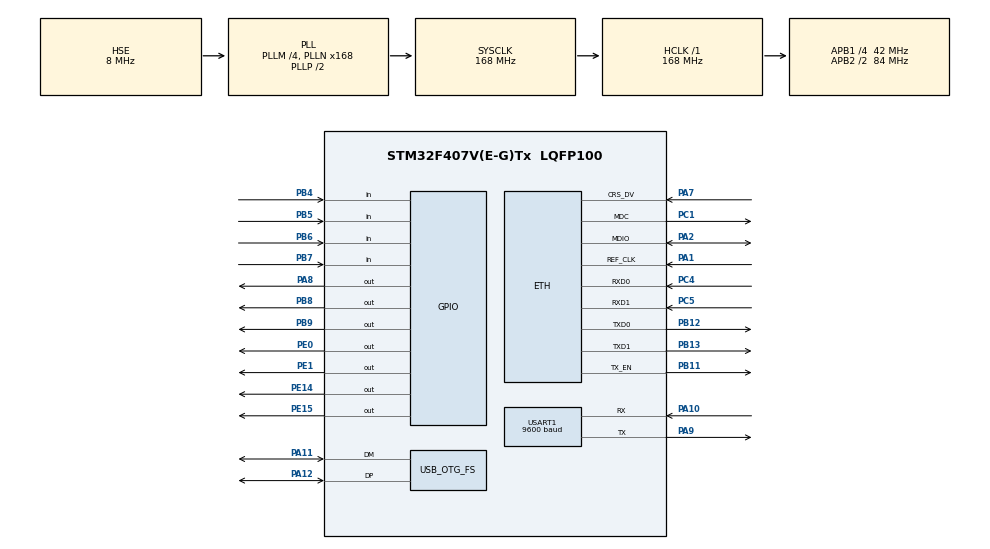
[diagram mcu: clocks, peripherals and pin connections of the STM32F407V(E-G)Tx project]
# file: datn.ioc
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Dma.Request0=USART1_RX
Dma.Request1=USART1_TX
Dma.USART1_RX.0.Direction=DMA_PERIPH_TO_MEMORY
Dma.USART1_RX.0.FIFOMode=DMA_FIFOMODE_DISABLE
Dma.USART1_RX.0.Instance=DMA2_Stream2
Dma.USART1_RX.0.MemDataAlignment=DMA_MDATAALIGN_BYTE
Dma.USART1_RX.0.MemInc=DMA_MINC_ENABLE
Dma.USART1_RX.0.Mode=DMA_CIRCULAR
Dma.USART1_RX.0.PeriphDataAlignment=DMA_PDATAALIGN_BYTE
Dma.USART1_RX.0.PeriphInc=DMA_PINC_DISABLE
Dma.USART1_RX.0.Priority=DMA_PRIORITY_HIGH
Dma.USART1_TX.1.Direction=DMA_MEMORY_TO_PERIPH
Dma.USART1_TX.1.FIFOMode=DMA_FIFOMODE_DISABLE
Dma.USART1_TX.1.Instance=DMA2_Stream7
Dma.USART1_TX.1.MemDataAlignment=DMA_MDATAALIGN_BYTE
Dma.USART1_TX.1.MemInc=DMA_MINC_ENABLE
Dma.USART1_TX.1.Mode=DMA_NORMAL
Dma.USART1_TX.1.PeriphDataAlignment=DMA_PDATAALIGN_BYTE
Dma.USART1_TX.1.PeriphInc=DMA_PINC_DISABLE
Dma.USART1_TX.1.Priority=DMA_PRIORITY_MEDIUM
ETH.MediaInterface=HAL_ETH_RMII_MODE
FREERTOS.Tasks01=Task_Ethernet,24,1024,StartTask01,Default,NULL,Dynamic,NULL,NULL;Task_Modbus,8,512,StartTask02,Default,NULL,Dynamic,NULL,NULL;Task_IO,8,256,StartTask03,Default,NULL,Dynamic,NULL,NULL;Task_USB,8,512,StartTask04,Default,NULL,Dynamic,NULL,NULL
FREERTOS.configCHECK_FOR_STACK_OVERFLOW=2
FREERTOS.configMINIMAL_STACK_SIZE=256
FREERTOS.configTOTAL_HEAP_SIZE=40960
FREERTOS.configUSE_MALLOC_FAILED_HOOK=1
FREERTOS.configUSE_NEWLIB_REENTRANT=1
LWIP.BSP.number=1
LWIP.GATEWAY_ADDRESS=192.168.001.001
LWIP.IP_ADDRESS=192.168.001.100
LWIP.LWIP_DHCP=1
LWIP.LWIP_HTTPD=1
LWIP.LWIP_HTTPD_CGI=1
LWIP.LWIP_HTTPD_DYNAMIC_HEADERS=1
LWIP.LWIP_HTTPD_KILL_OLD_ON_CONNECTIONS_EXCEEDED=1
LWIP.LWIP_HTTPD_SSI=1
LWIP.LWIP_HTTPD_SSI_INCLUDE_TAG=0
LWIP.LWIP_HTTPD_SUPPORT_11_KEEPALIVE=1
LWIP.LWIP_HTTPD_SUPPORT_POST=1
LWIP.LWIP_NETIF_STATUS_CALLBACK=1
LWIP.MEMP_NUM_RAW_PCB=5
LWIP.MEMP_NUM_TCP_SEG=21
LWIP.MEM_SIZE=10240
LWIP.NETMASK_ADDRESS=255.255.255.000
LWIP.TCP_SND_BUF=2684
LWIP.TCP_WND=5840
LWIP.Version=v2.1.2_Cube
LWIP0.BSP.STBoard=false
LWIP0.BSP.api=BSP_COMPONENT_DRIVER
LWIP0.BSP.component=LAN8742
LWIP0.BSP.instance=LAN8742
LWIP0.BSP.name=Driver_PHY
LWIP0.BSP.semaphore=S_LAN8742
LWIP0.BSP.solution=LAN8742
Mcu.Family=STM32F4
Mcu.Name=STM32F407V(E-G)Tx
Mcu.Package=LQFP100
NVIC.DMA2_Stream2_IRQn=true\:5\:0\:false\:false\:true\:true\:false\:true\:true
NVIC.DMA2_Stream7_IRQn=true\:5\:0\:false\:false\:true\:true\:false\:true\:true
NVIC.ETH_IRQn=true\:5\:0\:false\:false\:true\:true\:false\:true\:true
NVIC.OTG_FS_IRQn=true\:5\:0\:false\:false\:true\:true\:false\:true\:true
NVIC.PriorityGroup=NVIC_PRIORITYGROUP_4
NVIC.TIM6_DAC_IRQn=true\:15\:0\:false\:false\:true\:false\:false\:true\:true
NVIC.TimeBase=TIM6_DAC_IRQn
NVIC.TimeBaseIP=TIM6
NVIC.USART1_IRQn=true\:5\:0\:false\:false\:true\:true\:true\:true\:true
PA1.Mode=RMII
PA1.Signal=ETH_REF_CLK
PA10.Mode=Asynchronous
PA10.Signal=USART1_RX
PA11.Mode=Device_Only
PA11.Signal=USB_OTG_FS_DM
PA12.Mode=Device_Only
PA12.Signal=USB_OTG_FS_DP
PA13.Mode=Serial_Wire
PA13.Signal=SYS_JTMS-SWDIO
PA14.Mode=Serial_Wire
PA14.Signal=SYS_JTCK-SWCLK
PA2.Mode=RMII
PA2.Signal=ETH_MDIO
PA7.Mode=RMII
PA7.Signal=ETH_CRS_DV
PA8.Signal=GPIO_Output
PA9.Mode=Asynchronous
PA9.Signal=USART1_TX
PB11.Mode=RMII
PB11.Signal=ETH_TX_EN
PB12.Mode=RMII
PB12.Signal=ETH_TXD0
PB13.Mode=RMII
PB13.Signal=ETH_TXD1
PB4.GPIO_PuPd=GPIO_PULLUP
PB4.Signal=GPIO_Input
PB5.GPIO_PuPd=GPIO_PULLUP
PB5.Signal=GPIO_Input
PB6.GPIO_PuPd=GPIO_PULLUP
PB6.Signal=GPIO_Input
PB7.GPIO_PuPd=GPIO_PULLUP
PB7.Signal=GPIO_Input
PB8.Signal=GPIO_Output
PB9.Signal=GPIO_Output
PC1.Mode=RMII
PC1.Signal=ETH_MDC
PC4.Mode=RMII
PC4.Signal=ETH_RXD0
PC5.Mode=RMII
PC5.Signal=ETH_RXD1
PE0.Signal=GPIO_Output
PE1.Signal=GPIO_Output
PE14.Signal=GPIO_Output
PE15.Signal=GPIO_Output
PH0-OSC_IN.Mode=HSE-External-Oscillator
PH0-OSC_IN.Signal=RCC_OSC_IN
PH1-OSC_OUT.Mode=HSE-External-Oscillator
PH1-OSC_OUT.Signal=RCC_OSC_OUT
ProjectManager.HeapSize=0x200
ProjectManager.StackSize=0x400
ProjectManager.TargetToolchain=CMake
RCC.48MHZClocksFreq_Value=48000000
RCC.AHBFreq_Value=168000000
RCC.APB1CLKDivider=RCC_HCLK_DIV4
RCC.APB1Freq_Value=42000000
RCC.APB1TimFreq_Value=84000000
RCC.APB2CLKDivider=RCC_HCLK_DIV2
RCC.APB2Freq_Value=84000000
RCC.APB2TimFreq_Value=168000000
RCC.CortexFreq_Value=168000000
RCC.HCLKFreq_Value=168000000
RCC.HSE_VALUE=8000000
RCC.HSI_VALUE=16000000
RCC.LSE_VALUE=32768
RCC.PLLM=4
RCC.PLLN=168
RCC.PLLQ=7
RCC.SYSCLKFreq_VALUE=168000000
RCC.SYSCLKSource=RCC_SYSCLKSOURCE_PLLCLK
RCC.VCOOutputFreq_Value=336000000
USART1.BaudRate=9600
USART1.VirtualMode=VM_ASYNC
USB_DEVICE.CLASS_NAME_FS=CDC
USB_DEVICE.VirtualMode-CDC_FS=Cdc
USB_DEVICE.VirtualModeFS=Cdc_FS
USB_OTG_FS.VirtualMode=Device_Only
VP_FREERTOS_VS_CMSIS_V2.Mode=CMSIS_V2
VP_LWIP_VS_Enabled.Mode=Enabled
VP_SYS_VS_tim6.Mode=TIM6
VP_USB_DEVICE_VS_USB_DEVICE_CDC_FS.Mode=CDC_FS
board=custom

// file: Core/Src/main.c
/* USER CODE BEGIN Header */
/**
  ******************************************************************************
  * @file           : main.c
  * @brief          : Main program body
  ******************************************************************************
  * @attention
  *
  * Copyright (c) 2026 STMicroelectronics.
  * All rights reserved.
  *
  * This software is licensed under terms that can be found in the LICENSE file
  * in the root directory of this software component.
  * If no LICENSE file comes with this software, it is provided AS-IS.
  *
  ******************************************************************************
  */
/* USER CODE END Header */
#include "main.h"
#include "cmsis_os.h"
#include "lwip.h"
#include "usb_device.h"

/* USER CODE BEGIN Includes */
#include "app_data.h"
#include "ethernet_task.h"
#include "io_task.h"
#include "usb_task.h"
#include "modbus_task.h"
/* #include "uart_esp32_task.h" */   /* UART-ESP32 task disabled — USART1 used by Modbus task */
/* USER CODE END Includes */

UART_HandleTypeDef huart1;
DMA_HandleTypeDef hdma_usart1_rx;
DMA_HandleTypeDef hdma_usart1_tx;

/* Definitions for Task_Ethernet */
osThreadId_t Task_EthernetHandle;
const osThreadAttr_t Task_Ethernet_attributes = {
  .name = "Task_Ethernet",
  .stack_size = 1024 * 4,
  .priority = (osPriority_t) osPriorityNormal,
};
/* Definitions for Task_Modbus */
osThreadId_t Task_ModbusHandle;
const osThreadAttr_t Task_Modbus_attributes = {
  .name = "Task_Modbus",
  .stack_size = 512 * 4,
  .priority = (osPriority_t) osPriorityBelowNormal,
};
/* Definitions for Task_IO */
osThreadId_t Task_IOHandle;
const osThreadAttr_t Task_IO_attributes = {
  .name = "Task_IO",
  .stack_size = 256 * 4,
  .priority = (osPriority_t) osPriorityBelowNormal,
};
/* Definitions for Task_USB */
osThreadId_t Task_USBHandle;
const osThreadAttr_t Task_USB_attributes = {
  .name = "Task_USB",
  .stack_size = 512 * 4,
  .priority = (osPriority_t) osPriorityLow,
};
/* USER CODE BEGIN PV */
IWDG_HandleTypeDef hiwdg;
volatile SystemExceptionInfo_t g_exceptionInfo = {0};

/* USER CODE END PV */

void SystemClock_Config(void);
static void MX_GPIO_Init(void);
static void MX_DMA_Init(void);
static void MX_USART1_UART_Init(void);
void StartTask01(void *argument);
void StartTask02(void *argument);
void StartTask03(void *argument);
void StartTask04(void *argument);

int main(void)
{

  /* MCU Configuration--------------------------------------------------------*/

  /* Reset of all peripherals, Initializes the Flash interface and the Systick. */
  HAL_Init();

  /* Configure the system clock */
  SystemClock_Config();

  /* Initialize all configured peripherals */
  MX_GPIO_Init();
  MX_DMA_Init();
  MX_USART1_UART_Init();
  /* USER CODE BEGIN 2 */
  Modbus_Task_Init();
  /* UART_ESP32_Task_Init(); */   /* Disabled — USART1 is now used by Modbus task */
  IO_Task_Init();
  USB_Task_Init();
  Ethernet_Task_Init();

  /* Power-up the Ethernet PHY (LAN8720AI) before the RTOS scheduler starts.
   * HAL_Delay() is used here (SysTick-based, works bare-metal pre-scheduler).
   * Call order:
   *   1. SystemClock_Config()  — SysTick running at 168 MHz
  *   2. MX_GPIO_Init()        — PA8/PB14/PB15 forced safe-low
  *   3. ETH_PowerUp()         — sequenced rail/clock/reset release
   *   4. osKernelStart()       — RTOS starts; Ethernet_Task_Run() calls
   *                              MX_LWIP_Init() → HAL_ETH_Init() internally */
  ETH_PowerUp();

  /* Initialise USB device stack here (before RTOS) so Windows enumerates
   * the CDC port immediately at boot, independent of task scheduling.
   * USB interrupts are handled in ISR context — no task needed for enumeration. */
  MX_USB_DEVICE_Init();

  /* Start the Independent Watchdog (IWDG).
   * Clock  : LSI ≈ 32 kHz
   * Prescaler /32  → tick = 1 ms
   * Reload  3999  → timeout = 4000 ms
   * The lowest-priority task (USB_Task, osPriorityLow) kicks the
   * watchdog every ≤ 1000 ms.  If any task deadlocks and starves USB_Task
   * for > 4 s the MCU resets safely via ETH_PowerDown() in fault handlers.
   * During debug: __HAL_DBGMCU_FREEZE_IWDG() pauses the counter on breakpoints. */
#ifdef DEBUG
  /* In debug builds freeze the IWDG counter while the core is halted on a
   * breakpoint; the watchdog is NOT started so it never fires during debug. */
  __HAL_DBGMCU_FREEZE_IWDG();
#else
  hiwdg.Instance       = IWDG;
  hiwdg.Init.Prescaler = IWDG_PRESCALER_32;
  hiwdg.Init.Reload    = 3999U;   /* 4000 ms — covers USB enumeration delay */
  HAL_IWDG_Init(&hiwdg);
#endif

  /* USER CODE END 2 */

  /* Init scheduler */
  osKernelInitialize();

  /* USER CODE BEGIN RTOS_MUTEX */
  App_Data_Init();
  /* USER CODE END RTOS_MUTEX */

  /* Create the thread(s) */
  /* creation of Task_Ethernet */
  Task_EthernetHandle = osThreadNew(StartTask01, NULL, &Task_Ethernet_attributes);

  /* creation of Task_Modbus */
  Task_ModbusHandle = osThreadNew(StartTask02, NULL, &Task_Modbus_attributes);

  /* creation of Task_IO */
  Task_IOHandle = osThreadNew(StartTask03, NULL, &Task_IO_attributes);

  /* creation of Task_USB */
  Task_USBHandle = osThreadNew(StartTask04, NULL, &Task_USB_attributes);

  /* Start scheduler */
  osKernelStart();

  /* We should never get here as control is now taken by the scheduler */

  /* Infinite loop */
  while (1)
  {

  }
}

void SystemClock_Config(void)
{
  RCC_OscInitTypeDef RCC_OscInitStruct = {0};
  RCC_ClkInitTypeDef RCC_ClkInitStruct = {0};

  /** Configure the main internal regulator output voltage
  */
  __HAL_RCC_PWR_CLK_ENABLE();
  __HAL_PWR_VOLTAGESCALING_CONFIG(PWR_REGULATOR_VOLTAGE_SCALE1);

  /** Initializes the RCC Oscillators according to the specified parameters
  * in the RCC_OscInitTypeDef structure.
  */
  RCC_OscInitStruct.OscillatorType = RCC_OSCILLATORTYPE_HSE;
  RCC_OscInitStruct.HSEState = RCC_HSE_ON;
  RCC_OscInitStruct.PLL.PLLState = RCC_PLL_ON;
  RCC_OscInitStruct.PLL.PLLSource = RCC_PLLSOURCE_HSE;
  RCC_OscInitStruct.PLL.PLLM = 4;
  RCC_OscInitStruct.PLL.PLLN = 168;
  RCC_OscInitStruct.PLL.PLLP = RCC_PLLP_DIV2;
  RCC_OscInitStruct.PLL.PLLQ = 7;
  if (HAL_RCC_OscConfig(&RCC_OscInitStruct) != HAL_OK)
  {
    Error_Handler();
  }

  /** Initializes the CPU, AHB and APB buses clocks
  */
  RCC_ClkInitStruct.ClockType = RCC_CLOCKTYPE_HCLK|RCC_CLOCKTYPE_SYSCLK
                              |RCC_CLOCKTYPE_PCLK1|RCC_CLOCKTYPE_PCLK2;
  RCC_ClkInitStruct.SYSCLKSource = RCC_SYSCLKSOURCE_PLLCLK;
  RCC_ClkInitStruct.AHBCLKDivider = RCC_SYSCLK_DIV1;
  RCC_ClkInitStruct.APB1CLKDivider = RCC_HCLK_DIV4;
  RCC_ClkInitStruct.APB2CLKDivider = RCC_HCLK_DIV2;

  if (HAL_RCC_ClockConfig(&RCC_ClkInitStruct, FLASH_LATENCY_5) != HAL_OK)
  {
    Error_Handler();
  }
}

static void MX_USART1_UART_Init(void)
{

  huart1.Instance = USART1;
  huart1.Init.BaudRate = 9600;
  huart1.Init.WordLength = UART_WORDLENGTH_8B;
  huart1.Init.StopBits = UART_STOPBITS_1;
  huart1.Init.Parity = UART_PARITY_NONE;
  huart1.Init.Mode = UART_MODE_TX_RX;
  huart1.Init.HwFlowCtl = UART_HWCONTROL_NONE;
  huart1.Init.OverSampling = UART_OVERSAMPLING_16;
  if (HAL_UART_Init(&huart1) != HAL_OK)
  {
    Error_Handler();
  }

}

static void MX_DMA_Init(void)
{

  /* DMA controller clock enable */
  __HAL_RCC_DMA2_CLK_ENABLE();

  /* DMA interrupt init */
  /* DMA2_Stream2_IRQn interrupt configuration */
  HAL_NVIC_SetPriority(DMA2_Stream2_IRQn, 5, 0);
  HAL_NVIC_EnableIRQ(DMA2_Stream2_IRQn);
  /* DMA2_Stream7_IRQn interrupt configuration */
  HAL_NVIC_SetPriority(DMA2_Stream7_IRQn, 5, 0);
  HAL_NVIC_EnableIRQ(DMA2_Stream7_IRQn);

}

static void MX_GPIO_Init(void)
{
  GPIO_InitTypeDef GPIO_InitStruct = {0};

  /* GPIO Ports Clock Enable */
  __HAL_RCC_GPIOH_CLK_ENABLE();
  __HAL_RCC_GPIOC_CLK_ENABLE();
  __HAL_RCC_GPIOA_CLK_ENABLE();
  __HAL_RCC_GPIOE_CLK_ENABLE();
  __HAL_RCC_GPIOB_CLK_ENABLE();

  /*Configure GPIO pin Output Level */
  HAL_GPIO_WritePin(GPIOE, GPIO_PIN_14|GPIO_PIN_15, GPIO_PIN_RESET);

  /*Configure GPIO pins : PE14 PE15 */
  GPIO_InitStruct.Pin = GPIO_PIN_14|GPIO_PIN_15;
  GPIO_InitStruct.Mode = GPIO_MODE_OUTPUT_PP;
  GPIO_InitStruct.Pull = GPIO_NOPULL;
  GPIO_InitStruct.Speed = GPIO_SPEED_FREQ_LOW;
  HAL_GPIO_Init(GPIOE, &GPIO_InitStruct);

  /*Configure GPIO pins : PB4 PB5 PB6 PB7 */
  GPIO_InitStruct.Pin = GPIO_PIN_4|GPIO_PIN_5|GPIO_PIN_6|GPIO_PIN_7;
  GPIO_InitStruct.Mode = GPIO_MODE_INPUT;
  GPIO_InitStruct.Pull = GPIO_PULLUP;
  HAL_GPIO_Init(GPIOB, &GPIO_InitStruct);

  /* USER CODE BEGIN MX_GPIO_Init_2 */

  /* Configure relay outputs on GPIOB: PB8 (Relay1), PB9 (Relay2) */
  GPIO_InitStruct.Pin   = RELAY1_PIN | RELAY2_PIN;
  GPIO_InitStruct.Mode  = GPIO_MODE_OUTPUT_PP;
  GPIO_InitStruct.Pull  = GPIO_NOPULL;
  GPIO_InitStruct.Speed = GPIO_SPEED_FREQ_LOW;
  HAL_GPIO_Init(RELAY1_PORT, &GPIO_InitStruct);
  /* Relays off at startup */
  HAL_GPIO_WritePin(RELAY1_PORT, RELAY1_PIN | RELAY2_PIN, GPIO_PIN_RESET);

  /* Configure relay outputs on GPIOE: PE0 (Relay3), PE1 (Relay4) */
  GPIO_InitStruct.Pin   = RELAY3_PIN | RELAY4_PIN;
  GPIO_InitStruct.Mode  = GPIO_MODE_OUTPUT_PP;
  GPIO_InitStruct.Pull  = GPIO_NOPULL;
  GPIO_InitStruct.Speed = GPIO_SPEED_FREQ_LOW;
  HAL_GPIO_Init(RELAY3_PORT, &GPIO_InitStruct);
  /* Relays off at startup */
  HAL_GPIO_WritePin(RELAY3_PORT, RELAY3_PIN | RELAY4_PIN, GPIO_PIN_RESET);

  /* -------------------------------------------------------------------------
   * Ethernet PHY control outputs — PA8, PB14, PB15
   * GPIOA and GPIOB clocks are already enabled above by CubeMX.
   * ------------------------------------------------------------------------- */

  /* PA8 — ETH_PWR_CTRL: push-pull output, no pull, low speed.
   * Initialise LOW so PHY power stays off until ETH_PowerUp() performs the
   * full rail/clock/reset sequence. (HIGH = ETH_VDD ON due to inverted
   * MOSFET topology) */
  GPIO_InitStruct.Pin   = ETH_PWR_CTRL_PIN;
  GPIO_InitStruct.Mode  = GPIO_MODE_OUTPUT_PP;
  GPIO_InitStruct.Pull  = GPIO_NOPULL;
  GPIO_InitStruct.Speed = GPIO_SPEED_FREQ_LOW;
  HAL_GPIO_Init(ETH_PWR_CTRL_PORT, &GPIO_InitStruct);
  HAL_GPIO_WritePin(ETH_PWR_CTRL_PORT, ETH_PWR_CTRL_PIN, GPIO_PIN_RESET);

  /* PB14 — ETH_CR_EN: push-pull output, no pull, low speed.
   * Initialise LOW: keeps 50 MHz oscillator output Hi-Z until power-up sequence. */
  GPIO_InitStruct.Pin   = ETH_CR_EN_PIN;
  GPIO_InitStruct.Mode  = GPIO_MODE_OUTPUT_PP;
  GPIO_InitStruct.Pull  = GPIO_NOPULL;
  GPIO_InitStruct.Speed = GPIO_SPEED_FREQ_LOW;
  HAL_GPIO_Init(ETH_CR_EN_PORT, &GPIO_InitStruct);
  HAL_GPIO_WritePin(ETH_CR_EN_PORT, ETH_CR_EN_PIN, GPIO_PIN_RESET);

  /* PB15 — ETH_RST (active-low): push-pull output, no pull, low speed.
   * Initialise LOW: holds LAN8720 in reset until power-up sequence. */
  GPIO_InitStruct.Pin   = ETH_RST_PIN;
  GPIO_InitStruct.Mode  = GPIO_MODE_OUTPUT_PP;
  GPIO_InitStruct.Pull  = GPIO_NOPULL;
  GPIO_InitStruct.Speed = GPIO_SPEED_FREQ_LOW;
  HAL_GPIO_Init(ETH_RST_PORT, &GPIO_InitStruct);
  HAL_GPIO_WritePin(ETH_RST_PORT, ETH_RST_PIN, GPIO_PIN_RESET);

  /* USER CODE END MX_GPIO_Init_2 */
}

/* USER CODE BEGIN 4 */

void System_ExceptionTrap(SystemExceptionCode_t code)
{
  __disable_irq();

  g_exceptionInfo.signature = 0x45584350UL; /* 'EXCP' */
  g_exceptionInfo.code = (uint32_t)code;
  g_exceptionInfo.ipsr = __get_IPSR();
  g_exceptionInfo.cfsr = SCB->CFSR;
  g_exceptionInfo.hfsr = SCB->HFSR;
  g_exceptionInfo.dfsr = SCB->DFSR;
  g_exceptionInfo.afsr = SCB->AFSR;
  g_exceptionInfo.mmfar = SCB->MMFAR;
  g_exceptionInfo.bfar = SCB->BFAR;
  g_exceptionInfo.msp = __get_MSP();
  g_exceptionInfo.psp = __get_PSP();
  g_exceptionInfo.tick = HAL_GetTick();

#ifndef DEBUG
  ETH_PowerDown();
#endif

  while (1)
  {
  }
}

/* USER CODE END 4 */

void StartTask01(void *argument)
{
  /* USER CODE BEGIN 5 */
  Ethernet_Task_Run(argument);
  /* USER CODE END 5 */
}

void StartTask02(void *argument)
{
  /* USER CODE BEGIN StartTask02 */
  Modbus_Task_Run(argument);
  /* USER CODE END StartTask02 */
}

void StartTask03(void *argument)
{
  /* USER CODE BEGIN StartTask03 */
  IO_Task_Run(argument);
  /* USER CODE END StartTask03 */
}

void StartTask04(void *argument)
{
  /* USER CODE BEGIN StartTask04 */
  USB_Task_Run(argument);
  /* USER CODE END StartTask04 */
}

void HAL_TIM_PeriodElapsedCallback(TIM_HandleTypeDef *htim)
{
  if (htim->Instance == TIM6)
  {
    HAL_IncTick();
  }
}

void Error_Handler(void)
{
  /* USER CODE BEGIN Error_Handler_Debug */
  System_ExceptionTrap(SYSTEM_EXCEPTION_ERROR_HANDLER);
  /* USER CODE END Error_Handler_Debug */
}
